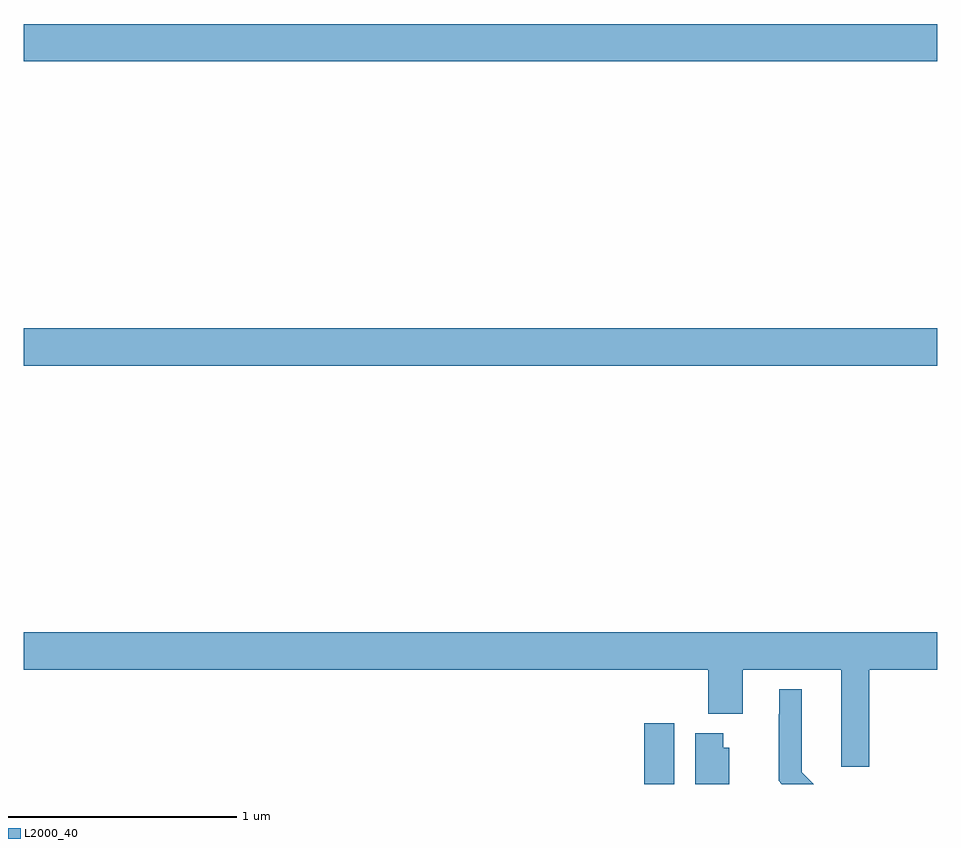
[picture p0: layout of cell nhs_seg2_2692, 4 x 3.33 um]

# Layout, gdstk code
import gdstk
lib = gdstk.Library(unit=1e-6, precision=1e-09)
def R(c, l, rs):  # rectangles x0, y0, x1, y1
    for r in rs: c.add(gdstk.rectangle(r[:2], r[2:], *l))
def P(c, l, *ps):  # polygons
    for p in ps: c.add(gdstk.Polygon(p, *l))
L2000_40 = (2000, 40)

nhs_seg2_2692 = lib.new_cell('nhs_seg2_2692')
R(nhs_seg2_2692, L2000_40, [(253.718,649.8,253.849,650.065), (251,651.632,255,651.796), (251,652.964,255,653.128)])
P(nhs_seg2_2692, L2000_40, [(254.702,650.3),(255,650.3),(255,650.464),(251,650.464),(251,650.3),(253.997,650.3),(253.997,650.108),(254.149,650.108),(254.149,650.3),(254.579,650.3),(254.579,649.875),(254.702,649.875)],
  [(254.407,649.852),(254.407,650.215),(254.309,650.215),(254.309,650.105),(254.305,650.105),(254.305,649.814),(254.319,649.8),(254.459,649.8)],
  [(254.089,649.959),(254.062,649.959),(254.062,650.023),(253.94,650.023),(253.94,649.8),(254.089,649.8)])

lib.write_gds('nhs_seg2_2692.gds')
